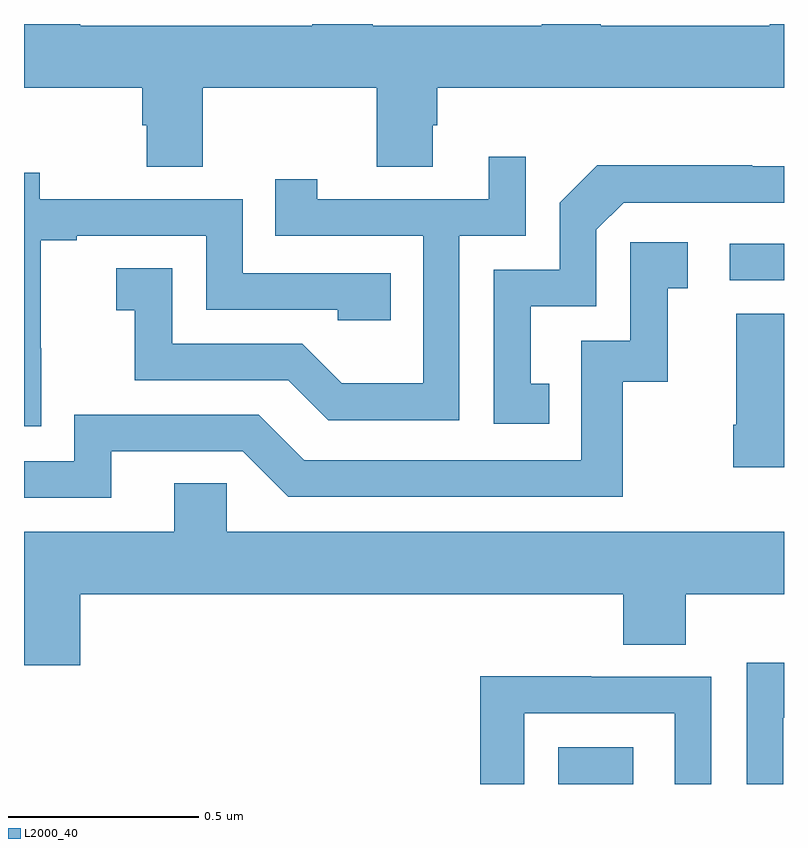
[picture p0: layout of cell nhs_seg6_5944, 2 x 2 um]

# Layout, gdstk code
import gdstk
lib = gdstk.Library(unit=1e-6, precision=1e-09)
def R(c, l, rs):  # rectangles x0, y0, x1, y1
    for r in rs: c.add(gdstk.rectangle(r[:2], r[2:], *l))
def P(c, l, *ps):  # polygons
    for p in ps: c.add(gdstk.Polygon(p, *l))
L2000_40 = (2000, 40)

nhs_seg6_5944 = lib.new_cell('nhs_seg6_5944')
R(nhs_seg6_5944, L2000_40, [(190.406,949.5,190.603,949.597), (190.857,950.826,191,950.922)])
P(nhs_seg6_5944, L2000_40, [(189.471,951.332),(189.928,951.332),(189.928,951.124),(190.075,951.124),(190.075,951.234),(190.088,951.234),(190.088,951.332),(191,951.332),(191,951.5),(190.963,951.5),(190.963,951.496),(190.518,951.496),(190.518,951.5),(190.363,951.5),(190.363,951.496),(189.918,951.496),(189.918,951.5),(189.758,951.5),(189.758,951.496),(189.148,951.496),(189.148,951.5),(189,951.5),(189,951.332),(189.311,951.332),(189.311,951.234),(189.323,951.234),(189.323,951.124),(189.471,951.124)],
  [(190.146,950.943),(190.32,950.943),(190.32,951.151),(190.223,951.151),(190.223,951.039),(189.772,951.039),(189.772,951.091),(189.661,951.091),(189.661,950.943),(190.05,950.943),(190.05,950.554),(189.836,950.554),(189.732,950.658),(189.39,950.658),(189.39,950.857),(189.243,950.857),(189.243,950.747),(189.292,950.747),(189.292,950.562),(189.695,950.562),(189.8,950.457),(190.146,950.457)],
  [(190.382,950.553),(190.333,950.553),(190.333,950.757),(190.506,950.757),(190.506,950.958),(190.578,951.03),(191,951.03),(191,951.126),(190.916,951.126),(190.916,951.128),(190.508,951.128),(190.41,951.03),(190.41,950.853),(190.236,950.853),(190.236,950.448),(190.382,950.448)],
  [(189.045,950.647),(189.044,950.647),(189.044,950.931),(189.139,950.931),(189.139,950.943),(189.48,950.943),(189.48,950.748),(189.825,950.748),(189.825,950.721),(189.965,950.721),(189.965,950.844),(189.576,950.844),(189.576,951.039),(189.042,951.039),(189.042,951.108),(189,951.108),(189,950.441),(189.045,950.441)],
  [(189.229,950.376),(189.576,950.376),(189.696,950.256),(190.576,950.256),(190.576,950.559),(190.694,950.559),(190.694,950.805),(190.747,950.805),(190.747,950.926),(190.596,950.926),(190.596,950.667),(190.467,950.667),(190.467,950.352),(189.738,950.352),(189.618,950.472),(189.132,950.472),(189.132,950.349),(189,950.349),(189,950.253),(189.229,950.253)],
  [(191,950.737),(190.874,950.737),(190.874,950.446),(190.867,950.446),(190.867,950.334),(191,950.334)],
  [(189.148,950),(190.577,950),(190.577,949.867),(190.742,949.867),(190.742,950),(191,950),(191,950.164),(189.534,950.164),(189.534,950.291),(189.395,950.291),(189.395,950.164),(189,950.164),(189,949.812),(189.148,949.812)],
  [(190.998,949.674),(191,949.674),(191,949.819),(190.902,949.819),(190.902,949.5),(190.998,949.5)],
  [(190.317,949.686),(190.713,949.686),(190.713,949.5),(190.809,949.5),(190.809,949.782),(190.493,949.782),(190.493,949.784),(190.201,949.784),(190.201,949.5),(190.317,949.5)])

lib.write_gds('nhs_seg6_5944.gds')
